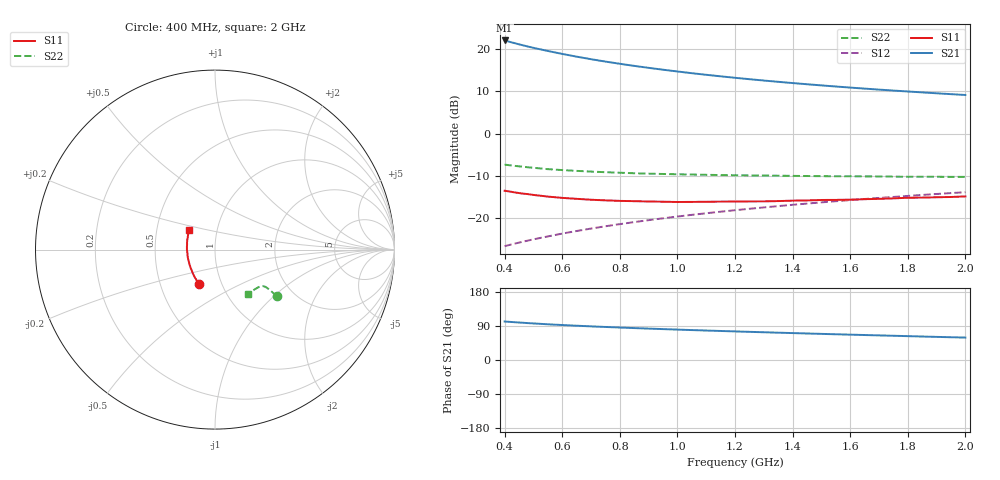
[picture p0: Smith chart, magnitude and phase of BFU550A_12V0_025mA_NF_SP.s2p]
! Filename:  P:\Prog\Test\Noise\ATS_data\Testdata_Net\06 Compressed Noise after Statistics\BFU550A_APG2013_35_C05_12p0V_025mA_NF_CM01_D.sf
! Date/Time: Tue 16/Apr/2013 15:11:33
! BFU550A_APG2013_35_C05_12p0V_1to35mA_NF_CM01_Bias7_R.sf
! Noise Parameter Data File
! BFU550A_APG2013_35_C05_12p0V_1to35mA_NF_CM01
! Date/time: Mon Apr 15 18:57:59 2013
! VAR V_out= 12.001000
! VAR I_out= 24.995000
! VAR V_in= 0.761700
! VAR I_in= 0.236350
! Device data file deembeded for feedlines and parallel
! Original file: \06 Compressed Noise after Statistics\BFU550A_APG2013_35_C05_12p0V_025mA_NF_CM01_R.sf
! Feed-files: PR017V01_150413_Feed1.s2p, PR017V01_150413_Feed2.s2p
! Parallel-file: PR017V01_150413_Par.s2p
# MHz S MA R 50
!  Freq-MHz  S11-mag  S11-arg  S21-mag  S21-arg  S12-mag  S12-arg  S22-mag  S22-arg
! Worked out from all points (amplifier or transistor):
!   37 points, 400 MHz to 2 GHz, reference 50 ohm
!   highest |S21| = 22.1 dB at 400 MHz (marker M1)
!   |S21| within 3 dB of that: start of sweep to 586.5 MHz
!   unconditionally stable (mu >= 1): 1.033 GHz to 1.992 GHz
!   at 500 MHz: K = 0.93, MSG = 22.7 dB, |S12| = -25.0 dB
!   at 1.1 GHz: K = 1.00, MAG = 16.1 dB, |S12| = -18.9 dB
!   at 2 GHz: K = 1.00, MSG = 11.5 dB, |S12| = -13.9 dB
!   lowest NFmin = 1.21 dB at 420 MHz
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400  0.2108 -115.0  12.7 101.7  0.04645 71.9  0.4298 -36.9
420  0.2056 -117.7  12.16 100.5  0.04836 72.0  0.421 -36.9
433  0.2018 -119.8  11.84 99.8  0.04958 72.1  0.416 -36.8
460  0.1955 -123.0  11.2 98.4  0.05214 72.3  0.4064 -36.7
500  0.188 -128.0  10.39 96.5  0.05594 72.6  0.394 -36.6
550  0.1795 -134.0  9.531 94.2  0.0606 72.9  0.3795 -36.3
600  0.1734 -138.9  8.797 92.3  0.06545 73.1  0.3702 -36.3
650  0.169 -144.1  8.165 90.5  0.07025 73.2  0.3622 -36.4
700  0.1648 -148.7  7.618 88.8  0.07507 73.3  0.3553 -36.4
750  0.1621 -153.0  7.139 87.2  0.07992 73.3  0.3493 -36.4
800  0.1597 -157.0  6.721 85.7  0.08475 73.3  0.3446 -36.8
850  0.1585 -161.3  6.348 84.2  0.08957 73.2  0.3393 -37.0
900  0.1572 -165.2  6.015 82.9  0.09445 73.2  0.3357 -37.3
950  0.1562 -168.5  5.718 81.5  0.09933 73.0  0.3328 -37.8
1050  0.1553 -175.1  5.2 79.0  0.1091 72.7  0.3276 -38.6
1150  0.1566 178.9  4.774 76.6  0.1189 72.3  0.323 -39.6
1200  0.1568 176.0  4.587 75.5  0.1238 72.0  0.3215 -40.3
1350  0.1588 168.3  4.109 72.1  0.1386 71.2  0.3177 -42.3
1500  0.1638 161.1  3.727 68.9  0.1533 70.3  0.3134 -44.5
1600  0.1652 156.9  3.512 66.9  0.1632 69.6  0.3124 -46.1
1750  0.1711 151.2  3.237 63.9  0.1779 68.5  0.3098 -48.6
2000  0.1805 142.9  2.869 59.1  0.2024 66.6  0.3074 -53.3
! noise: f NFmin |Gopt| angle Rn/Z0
400  1.305  0.1764  -163.5  0.1245
460  1.229  0.2444  -167.4  0.0943
600  1.322  0.2042  -159.4  0.1153
800  1.306  0.2542  -158.2  0.0973
1000  1.297  0.2492  -154.3  0.1052
1200  1.351  0.2392  -146.5  0.124
1400  1.407  0.2452  -143.3  0.1291
1600  1.386  0.3244  -133.4  0.1136
1800  1.367  0.3165  -132.6  0.1264
2000  1.34  0.3246  -125.7  0.1515
